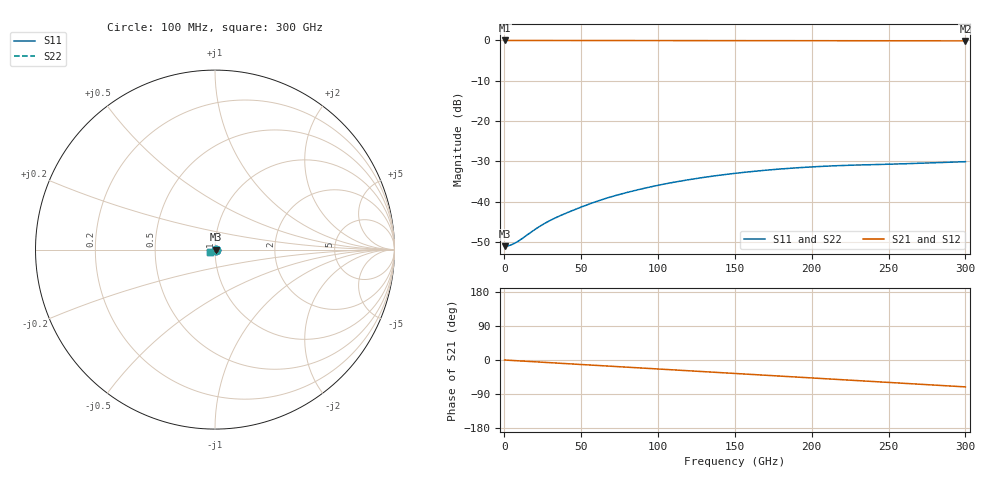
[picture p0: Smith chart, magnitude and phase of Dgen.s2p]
#  Hz  S  RI  R  50
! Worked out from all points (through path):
!   3000 points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, 100 MHz to 300 GHz, reference 50 ohm
!   highest |S21| = -0.02 dB at 100 MHz (marker M1); lowest = -0.1 dB at 300 GHz (marker M2)
!   group delay of S21, straight-line fit = 657 fs
!   lowest |S11| = -51.1 dB at 100 MHz (marker M3), VSWR 1.01, Z = 50.3 - j0.000588 ohm
!   |S11| at or under -10 dB: start of sweep to end of sweep
!   |S22| runs from -51.1 to -30.1 dB; largest |S21 - S12| = 0.00017
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1e8  0.0028 -5.84e-06  0.9973 -0.000426  0.9973 -0.000427  0.00279 -5.66e-06
3.6e9  0.00286 -0.000221  0.9971 -0.0153  0.9971 -0.0153  0.00285 -0.000215
7.4e9  0.00305 -0.000524  0.9964 -0.0314  0.9964 -0.0314  0.00305 -0.000515
1.08e10  0.00328 -0.000896  0.9955 -0.0456  0.9955 -0.0456  0.00329 -0.000887
2.15e10  0.00388 -0.0027  0.9917 -0.0895  0.9917 -0.0894  0.00389 -0.00271
2.55e10  0.00393 -0.00351  0.99 -0.1057  0.99 -0.1057  0.00393 -0.00352
2.96e10  0.00388 -0.00433  0.988 -0.1224  0.988 -0.1224  0.00387 -0.00434
3.79e10  0.00359 -0.00588  0.9831 -0.1562  0.9831 -0.1562  0.00358 -0.00588
5.01e10  0.00301 -0.00802  0.9735 -0.2054  0.9735 -0.2054  0.00302 -0.00801
6.1e10  0.00229 -0.00994  0.9631 -0.2487  0.9631 -0.2487  0.00229 -0.00994
7.18e10  0.0013 -0.0117  0.9509 -0.2913  0.9509 -0.2913  0.0013 -0.0117
8.56e10  -0.000194 -0.0138  0.9324 -0.3448  0.9324 -0.3448  -0.000191 -0.0138
1.001e11  -0.00205 -0.0158  0.9099 -0.3997  0.9099 -0.3997  -0.00205 -0.0158
1.116e11  -0.00372 -0.0172  0.8898 -0.4423  0.8897 -0.4423  -0.00372 -0.0171
1.247e11  -0.00576 -0.0184  0.8643 -0.4895  0.8643 -0.4895  -0.00576 -0.0184
1.501e11  -0.01 -0.02  0.808 -0.577  0.808 -0.577  -0.01 -0.02
1.744e11  -0.0142 -0.0205  0.7457 -0.6547  0.7457 -0.6547  -0.0142 -0.0205
2.001e11  -0.0183 -0.0198  0.6715 -0.7296  0.6715 -0.7296  -0.0183 -0.0198
2.252e11  -0.0215 -0.0183  0.5912 -0.7946  0.5912 -0.7945  -0.0215 -0.0183
2.501e11  -0.0239 -0.0166  0.5053 -0.8498  0.5052 -0.8497  -0.0239 -0.0166
2.773e11  -0.0263 -0.015  0.4066 -0.8986  0.4066 -0.8986  -0.0263 -0.015
3e11  -0.0283 -0.0133  0.3208 -0.9303  0.321 -0.9304  -0.0283 -0.0133
